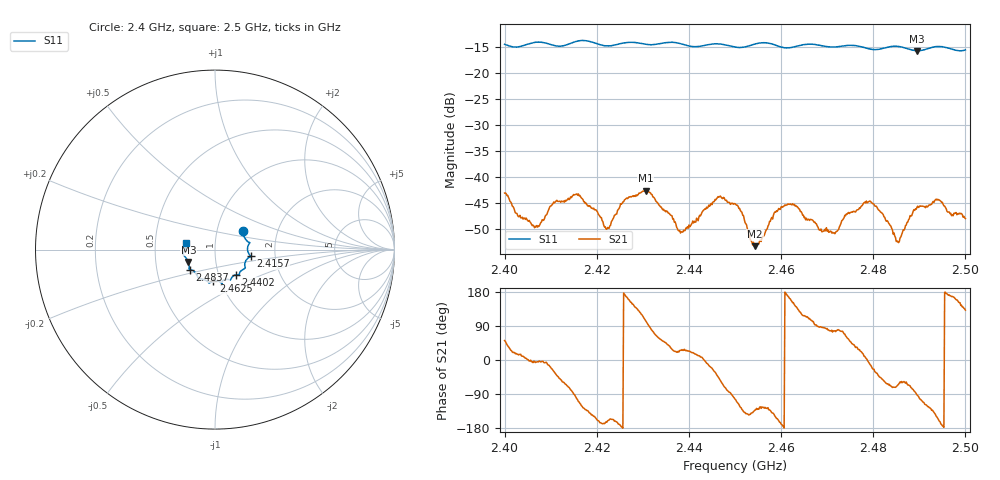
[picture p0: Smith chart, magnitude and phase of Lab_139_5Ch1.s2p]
# Hz S RI R 50
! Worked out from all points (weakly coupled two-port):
!   601 points, 2.4 GHz to 2.5 GHz, reference 50 ohm
!   highest |S21| = -42.55 dB at 2.4307 GHz (marker M1); lowest = -53.2 dB at 2.4543 GHz (marker M2)
!   lowest |S11| = -15.7 dB at 2.4895 GHz (marker M3), VSWR 1.39, Z = 36.8 - j5.15 ohm
!   |S11| at or under -10 dB: start of sweep to end of sweep
!   S12 and S22 are empty: the file has one direction only
!   S11 on the Smith chart (normalised r, x): 2.4 GHz: 1.33, +0.29; 2.4157 GHz: 1.49, -0.11; 2.4402 GHz: 1.20, -0.35; 2.4625 GHz: 0.92, -0.34; 2.4837 GHz: 0.74, -0.17; 2.5 GHz: 0.72, +0.05
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2.4e9  0.1565 0.1054  0.00441 0.00551  0 0  0 0
2.407e9  0.1941 0.0389  0.00343 -0.000293  0 0  0 0
2.415667e9  0.1985 -0.0364  -0.00148 -0.00676  0 0  0 0
2.416667e9  0.2015 -0.0397  -0.00322 -0.00545  0 0  0 0
2.422167e9  0.1699 -0.0654  -0.00305 -0.000853  0 0  0 0
2.430667e9  0.15 -0.115  -0.00168 0.00726  0 0  0 0
2.433333e9  0.1357 -0.1334  0.00286 0.00479  0 0  0 0
2.438e9  0.13 -0.1418  0.0028 0.00132  0 0  0 0
2.440167e9  0.1143 -0.1406  0.00307 0.00132  0 0  0 0
2.4465e9  0.0845 -0.1708  0.00436 -0.00474  0 0  0 0
2.45e9  0.064 -0.1658  -0.00128 -0.00544  0 0  0 0
2.454333e9  0.0374 -0.1862  -0.00146 -0.00162  0 0  0 0
2.4625e9  -0.01 -0.1767  -0.00489 0.00268  0 0  0 0
2.466667e9  -0.0331 -0.1863  -0.000952 0.00379  0 0  0 0
2.4715e9  -0.0629 -0.1662  0.000649 0.00285  0 0  0 0
2.479e9  -0.1047 -0.1353  0.00579 -0.000602  0 0  0 0
2.483333e9  -0.1383 -0.112  0.00149 -0.00331  0 0  0 0
2.483667e9  -0.1402 -0.1115  0.0013 -0.0032  0 0  0 0
2.4855e9  -0.1445 -0.1071  0.00103 -0.00212  0 0  0 0
2.4895e9  -0.1482 -0.0682  -0.000191 -0.00516  0 0  0 0
2.494e9  -0.178 -0.0259  -0.00553 -0.00271  0 0  0 0
2.5e9  -0.1625 0.0362  -0.00267 0.003  0 0  0 0
